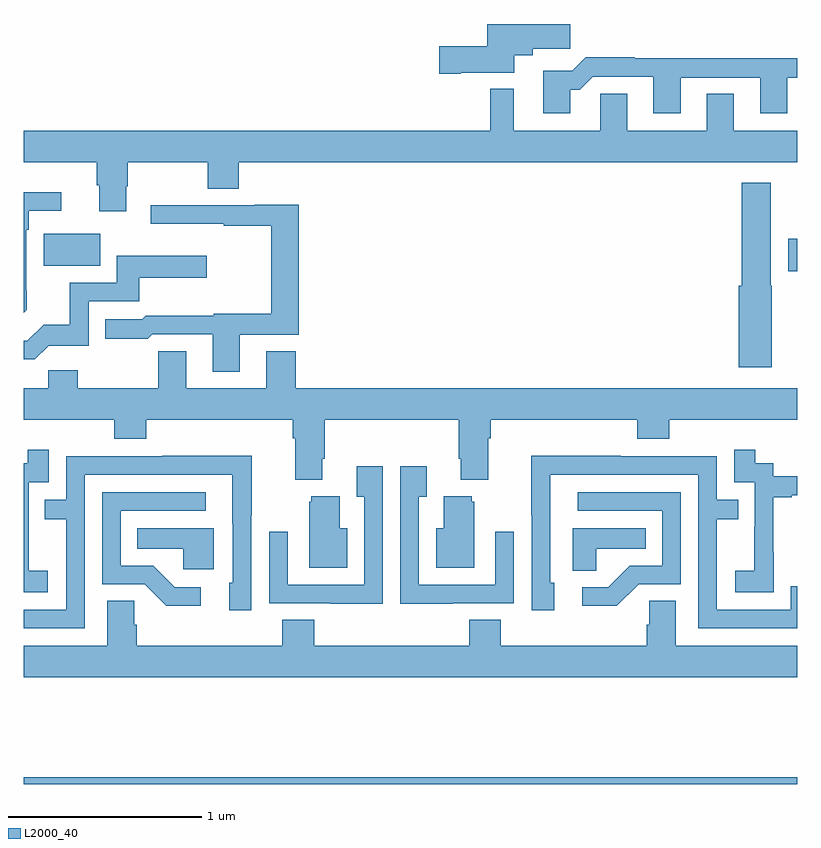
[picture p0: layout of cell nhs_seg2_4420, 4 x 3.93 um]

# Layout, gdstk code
import gdstk
lib = gdstk.Library(unit=1e-6, precision=1e-09)
def R(c, l, rs):  # rectangles x0, y0, x1, y1
    for r in rs: c.add(gdstk.rectangle(r[:2], r[2:], *l))
def P(c, l, *ps):  # polygons
    for p in ps: c.add(gdstk.Polygon(p, *l))
L2000_40 = (2000, 40)

nhs_seg2_4420 = lib.new_cell('nhs_seg2_4420')
R(nhs_seg2_4420, L2000_40, [(351,597.8,355,597.836), (354.954,600.452,355,600.622), (351.102,600.482,351.395,600.646)])
P(nhs_seg2_4420, L2000_40, [(353.26,601.481),(353.536,601.481),(353.536,601.571),(353.632,601.571),(353.632,601.603),(353.827,601.603),(353.827,601.732),(353.396,601.732),(353.396,601.616),(353.148,601.616),(353.148,601.474),(353.26,601.474)],
  [(353.827,601.391),(353.876,601.391),(353.943,601.458),(354.257,601.458),(354.257,601.269),(354.397,601.269),(354.397,601.455),(354.809,601.455),(354.809,601.269),(354.949,601.269),(354.949,601.455),(355,601.455),(355,601.556),(354.161,601.556),(354.161,601.559),(353.906,601.559),(353.836,601.489),(353.687,601.489),(353.687,601.269),(353.827,601.269)],
  [(351.529,600.892),(351.537,600.892),(351.537,601.016),(351.952,601.016),(351.952,600.88),(352.112,600.88),(352.112,601.016),(355,601.016),(355,601.18),(354.673,601.18),(354.673,601.37),(354.533,601.37),(354.533,601.18),(354.121,601.18),(354.121,601.37),(353.982,601.37),(353.982,601.18),(353.533,601.18),(353.533,601.396),(353.412,601.396),(353.412,601.18),(351,601.18),(351,601.016),(351.377,601.016),(351.377,600.897),(351.389,600.897),(351.389,600.762),(351.529,600.762)],
  [(354.868,600.378),(354.865,600.378),(354.865,600.91),(354.713,600.91),(354.713,600.378),(354.698,600.378),(354.698,599.957),(354.868,599.957)],
  [(351.015,600.253),(351.015,600.352),(351.012,600.352),(351.012,600.668),(351.024,600.668),(351.024,600.765),(351.193,600.765),(351.193,600.862),(351,600.862),(351,600.238)],
  [(352.117,600.123),(352.421,600.123),(352.421,600.798),(352.195,600.798),(352.195,600.795),(351.657,600.795),(351.657,600.698),(352.033,600.698),(352.033,600.687),(352.279,600.687),(352.279,600.232),(351.981,600.232),(351.981,600.223),(351.631,600.223),(351.612,600.204),(351.421,600.204),(351.421,600.104),(351.641,600.104),(351.663,600.126),(351.977,600.126),(351.977,599.934),(352.117,599.934)],
  [(351.128,600.068),(351.336,600.068),(351.336,600.297),(351.596,600.297),(351.596,600.419),(351.946,600.419),(351.946,600.532),(351.48,600.532),(351.48,600.393),(351.238,600.393),(351.238,600.177),(351.102,600.177),(351.018,600.093),(351,600.093),(351,599.997),(351.056,599.997)],
  [(352.406,600.038),(352.253,600.038),(352.253,599.848),(351.841,599.848),(351.841,600.038),(351.694,600.038),(351.694,599.848),(351.279,599.848),(351.279,599.941),(351.125,599.941),(351.125,599.848),(351,599.848),(351,599.684),(351.467,599.684),(351.467,599.585),(351.632,599.585),(351.632,599.684),(352.391,599.684),(352.391,599.588),(352.403,599.588),(352.403,599.375),(352.543,599.375),(352.543,599.482),(352.556,599.482),(352.556,599.684),(353.249,599.684),(353.249,599.482),(353.261,599.482),(353.261,599.375),(353.401,599.375),(353.401,599.588),(353.414,599.588),(353.414,599.684),(354.173,599.684),(354.173,599.585),(354.338,599.585),(354.338,599.684),(355,599.684),(355,599.848),(352.406,599.848)],
  [(351.124,598.903),(351.026,598.903),(351.026,599.132),(351.024,599.132),(351.024,599.361),(351.129,599.361),(351.129,599.53),(351.021,599.53),(351.021,599.46),(351,599.46),(351,598.793),(351.124,598.793)],
  [(354.879,598.999),(354.878,598.999),(354.878,599.283),(354.973,599.283),(354.973,599.295),(355,599.295),(355,599.391),(354.876,599.391),(354.876,599.46),(354.784,599.46),(354.784,599.53),(354.675,599.53),(354.675,599.361),(354.78,599.361),(354.78,599.132),(354.779,599.132),(354.779,598.903),(354.681,598.903),(354.681,598.793),(354.879,598.793)],
  [(351.315,599.4),(352.079,599.4),(352.079,599.146),(352.08,599.146),(352.08,598.842),(352.061,598.842),(352.061,598.698),(352.176,598.698),(352.176,599.191),(352.179,599.191),(352.179,599.498),(351.715,599.498),(351.715,599.496),(351.219,599.496),(351.219,599.271),(351.109,599.271),(351.109,599.17),(351.219,599.17),(351.219,598.701),(351,598.701),(351,598.605),(351.315,598.605)],
  [(355,598.824),(354.966,598.824),(354.966,598.701),(354.585,598.701),(354.585,599.17),(354.695,599.17),(354.695,599.271),(354.585,599.271),(354.585,599.496),(354.089,599.496),(354.089,599.498),(353.626,599.498),(353.626,599.191),(353.628,599.191),(353.628,598.698),(353.743,598.698),(353.743,598.842),(353.724,598.842),(353.724,599.4),(354.489,599.4),(354.489,598.605),(355,598.605)],
  [(353.219,598.734),(353.535,598.734),(353.535,599.104),(353.439,599.104),(353.439,598.83),(353.043,598.83),(353.043,599.287),(353.083,599.287),(353.083,599.443),(352.947,599.443),(352.947,598.733),(353.219,598.733)],
  [(352.857,599.443),(352.721,599.443),(352.721,599.287),(352.761,599.287),(352.761,598.83),(352.365,598.83),(352.365,599.104),(352.269,599.104),(352.269,598.734),(352.585,598.734),(352.585,598.733),(352.857,598.733)],
  [(354.18,598.833),(354.399,598.833),(354.399,599.31),(353.865,599.31),(353.865,599.214),(354.303,599.214),(354.303,598.929),(354.134,598.929),(354.023,598.818),(353.889,598.818),(353.889,598.721),(354.067,598.721)],
  [(351.916,598.818),(351.781,598.818),(351.67,598.929),(351.501,598.929),(351.501,599.214),(351.94,599.214),(351.94,599.31),(351.405,599.31),(351.405,598.833),(351.624,598.833),(351.737,598.721),(351.916,598.721)],
  [(353.329,599.259),(353.318,599.259),(353.318,599.29),(353.171,599.29),(353.171,599.122),(353.132,599.122),(353.132,598.919),(353.329,598.919)],
  [(352.672,599.122),(352.633,599.122),(352.633,599.29),(352.487,599.29),(352.487,599.259),(352.475,599.259),(352.475,598.919),(352.672,598.919)],
  [(353.961,599.018),(354.218,599.018),(354.218,599.122),(353.84,599.122),(353.84,598.903),(353.961,598.903)],
  [(351.982,599.122),(351.586,599.122),(351.586,599.018),(351.825,599.018),(351.825,598.91),(351.982,598.91)],
  [(355,598.516),(354.373,598.516),(354.373,598.748),(354.234,598.748),(354.234,598.625),(354.221,598.625),(354.221,598.516),(353.468,598.516),(353.468,598.649),(353.303,598.649),(353.303,598.516),(352.502,598.516),(352.502,598.649),(352.337,598.649),(352.337,598.516),(351.584,598.516),(351.584,598.625),(351.57,598.625),(351.57,598.748),(351.431,598.748),(351.431,598.516),(351,598.516),(351,598.352),(355,598.352)])

lib.write_gds('nhs_seg2_4420.gds')
